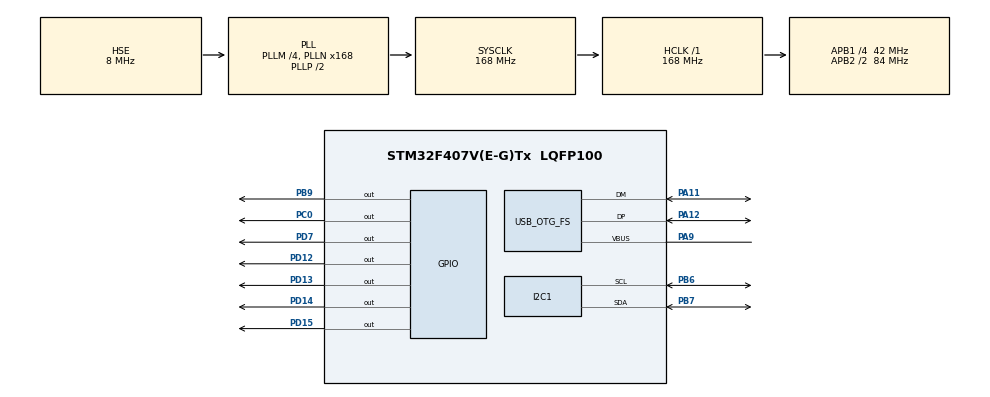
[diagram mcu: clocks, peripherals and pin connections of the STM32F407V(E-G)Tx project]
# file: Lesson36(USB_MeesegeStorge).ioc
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FATFS._MAX_SS=4096
Mcu.Family=STM32F4
Mcu.Name=STM32F407V(E-G)Tx
Mcu.Package=LQFP100
NVIC.OTG_FS_IRQn=true\:0\:0\:false\:false\:true
NVIC.PriorityGroup=NVIC_PRIORITYGROUP_4
PA11.Mode=Host_Only
PA11.Signal=USB_OTG_FS_DM
PA12.Mode=Host_Only
PA12.Signal=USB_OTG_FS_DP
PA9.Mode=Activate_VBUS
PA9.Signal=USB_OTG_FS_VBUS
PB6.Mode=I2C
PB6.Signal=I2C1_SCL
PB7.Mode=I2C
PB7.Signal=I2C1_SDA
PB9.Signal=GPIO_Output
PC0.Signal=GPIO_Output
PD12.Signal=GPIO_Output
PD13.Signal=GPIO_Output
PD14.Signal=GPIO_Output
PD15.Signal=GPIO_Output
PD7.Signal=GPIO_Output
PH0-OSC_IN.Mode=HSE-External-Oscillator
PH0-OSC_IN.Signal=RCC_OSC_IN
PH1-OSC_OUT.Mode=HSE-External-Oscillator
PH1-OSC_OUT.Signal=RCC_OSC_OUT
ProjectManager.HeapSize=0x200
ProjectManager.StackSize=0x400
ProjectManager.TargetToolchain=MDK-ARM V5
RCC.48MHZClocksFreq_Value=48000000
RCC.AHBFreq_Value=168000000
RCC.APB1CLKDivider=RCC_HCLK_DIV4
RCC.APB1Freq_Value=42000000
RCC.APB1TimFreq_Value=84000000
RCC.APB2CLKDivider=RCC_HCLK_DIV2
RCC.APB2Freq_Value=84000000
RCC.APB2TimFreq_Value=168000000
RCC.CortexFreq_Value=168000000
RCC.HCLKFreq_Value=168000000
RCC.HSE_VALUE=8000000
RCC.HSI_VALUE=16000000
RCC.LSE_VALUE=32768
RCC.PLLM=4
RCC.PLLN=168
RCC.PLLQ=7
RCC.SYSCLKFreq_VALUE=168000000
RCC.SYSCLKSource=RCC_SYSCLKSOURCE_PLLCLK
RCC.VCOOutputFreq_Value=336000000
USB_HOST.USBH_HandleTypeDef-MSC_FS=hUsbHostFS
USB_HOST.VirtualModeFS=Msc
USB_OTG_FS.phy_itface=HCD_PHY_EMBEDDED
VP_FATFS_VS_USB.Mode=USB
VP_USB_HOST_VS_USB_HOST_MSC_FS.Mode=MSC_FS
board=Lesson36(USB_MeesegeStorge)

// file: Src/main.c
/**
  ******************************************************************************
  * File Name          : main.c
  * Description        : Main program body
  ******************************************************************************
  *
  * Copyright (c) 2017 STMicroelectronics International N.V.
  * All rights reserved.
  *
  * Redistribution and use in source and binary forms, with or without
  * modification, are permitted, provided that the following conditions are met:
  *
  * 1. Redistribution of source code must retain the above copyright notice,
  *    this list of conditions and the following disclaimer.
  * 2. Redistributions in binary form must reproduce the above copyright notice,
  *    this list of conditions and the following disclaimer in the documentation
  *    and/or other materials provided with the distribution.
  * 3. Neither the name of STMicroelectronics nor the names of other
  *    contributors to this software may be used to endorse or promote products
  *    derived from this software without specific written permission.
  * 4. This software, including modifications and/or derivative works of this
  *    software, must execute solely and exclusively on microcontroller or
  *    microprocessor devices manufactured by or for STMicroelectronics.
  * 5. Redistribution and use of this software other than as permitted under
  *    this license is void and will automatically terminate your rights under
  *    this license.
  *
  * THIS SOFTWARE IS PROVIDED BY STMICROELECTRONICS AND CONTRIBUTORS "AS IS"
  * AND ANY EXPRESS, IMPLIED OR STATUTORY WARRANTIES, INCLUDING, BUT NOT
  * LIMITED TO, THE IMPLIED WARRANTIES OF MERCHANTABILITY, FITNESS FOR A
  * PARTICULAR PURPOSE AND NON-INFRINGEMENT OF THIRD PARTY INTELLECTUAL PROPERTY
  * RIGHTS ARE DISCLAIMED TO THE FULLEST EXTENT PERMITTED BY LAW. IN NO EVENT
  * SHALL STMICROELECTRONICS OR CONTRIBUTORS BE LIABLE FOR ANY DIRECT, INDIRECT,
  * INCIDENTAL, SPECIAL, EXEMPLARY, OR CONSEQUENTIAL DAMAGES (INCLUDING, BUT NOT
  * LIMITED TO, PROCUREMENT OF SUBSTITUTE GOODS OR SERVICES; LOSS OF USE, DATA,
  * OR PROFITS; OR BUSINESS INTERRUPTION) HOWEVER CAUSED AND ON ANY THEORY OF
  * LIABILITY, WHETHER IN CONTRACT, STRICT LIABILITY, OR TORT (INCLUDING
  * NEGLIGENCE OR OTHERWISE) ARISING IN ANY WAY OUT OF THE USE OF THIS SOFTWARE,
  * EVEN IF ADVISED OF THE POSSIBILITY OF SUCH DAMAGE.
  *
  ******************************************************************************
  */
#include "main.h"
#include "stm32f4xx_hal.h"
#include "fatfs.h"
#include "usb_host.h"

I2C_HandleTypeDef hi2c1;
extern ApplicationTypeDef Appli_state;
FATFS USBDISKFatFs;
FIL MyFile;
extern USBH_HandleTypeDef hUsbHostFS;

/* USER CODE BEGIN PV */
/* Private variables ---------------------------------------------------------*/

/* USER CODE END PV */

void SystemClock_Config(void);
void Error_Handler(void);
static void MX_GPIO_Init(void);
static void MX_I2C1_Init(void);
void MX_USB_HOST_Process(void);

/* USER CODE BEGIN PFP */
/* Private function prototypes -----------------------------------------------*/

/* USER CODE END PFP */

/* USER CODE BEGIN 0 */
void FileReadWrite(void)
{
	FRESULT res;
	uint32_t byteswritten, bytesread;
	uint8_t rtext[100];
	//uint8_t wtext[]="Hello from STM32!!!!!!";

	//+++++++++++++++++++++++++++++++++++++++++++++++++++++++++++++++++++++++
	//Read
	if(f_mount(&USBDISKFatFs,(TCHAR const*)USBH_Path,0)!=FR_OK)
	{
		HAL_GPIO_WritePin(GPIOD,GPIO_PIN_12,GPIO_PIN_SET);
		Error_Handler();
	}
	else
	{
		if(f_open(&MyFile,"123.txt",FA_READ)!=FR_OK)
		{
			HAL_GPIO_WritePin(GPIOD,GPIO_PIN_13,GPIO_PIN_SET);
			Error_Handler();
		}
		else
		{
			res = f_read(&MyFile,rtext,sizeof(rtext),(void*)&bytesread);
			if((bytesread==0)||(res!=FR_OK))
			{
				HAL_GPIO_WritePin(GPIOD,GPIO_PIN_14,GPIO_PIN_SET);
				Error_Handler();
			}
			else
			{
				HAL_GPIO_WritePin(GPIOD,GPIO_PIN_15,GPIO_PIN_SET);
				LCD_clear();
				LCD_GOTOXY(0,0);
				rtext[bytesread]=0;//������� ����, ��������� �� ���������
				LCD_printstring((char*)rtext);
				f_close(&MyFile);
			}
		}
	}

}

/* USER CODE END 0 */

int main(void)
{

  /* MCU Configuration----------------------------------------------------------*/

  /* Reset of all peripherals, Initializes the Flash interface and the Systick. */
  HAL_Init();

  /* Configure the system clock */
  SystemClock_Config();

  /* Initialize all configured peripherals */
  MX_GPIO_Init();
  MX_I2C1_Init();
  MX_FATFS_Init();
  MX_USB_HOST_Init();

  /* USER CODE BEGIN 2 */
LCD_ini();
  /* USER CODE END 2 */

  /* USER CODE END 2 */

  /* Infinite loop */
  while (1)
  {
    MX_USB_HOST_Process();

  /* USER CODE BEGIN 3 */
		if(Appli_state==APPLICATION_START)
		{

			FileReadWrite();
		}

		else if(Appli_state==APPLICATION_IDLE)
		{

		}

  }
  /* USER CODE END 3 */

}

/** System Clock Configuration
*/
void SystemClock_Config(void)
{

  RCC_OscInitTypeDef RCC_OscInitStruct;
  RCC_ClkInitTypeDef RCC_ClkInitStruct;

    /**Configure the main internal regulator output voltage
    */
  __HAL_RCC_PWR_CLK_ENABLE();

  __HAL_PWR_VOLTAGESCALING_CONFIG(PWR_REGULATOR_VOLTAGE_SCALE1);

    /**Initializes the CPU, AHB and APB busses clocks
    */
  RCC_OscInitStruct.OscillatorType = RCC_OSCILLATORTYPE_HSE;
  RCC_OscInitStruct.HSEState = RCC_HSE_ON;
  RCC_OscInitStruct.PLL.PLLState = RCC_PLL_ON;
  RCC_OscInitStruct.PLL.PLLSource = RCC_PLLSOURCE_HSE;
  RCC_OscInitStruct.PLL.PLLM = 4;
  RCC_OscInitStruct.PLL.PLLN = 168;
  RCC_OscInitStruct.PLL.PLLP = RCC_PLLP_DIV2;
  RCC_OscInitStruct.PLL.PLLQ = 7;
  if (HAL_RCC_OscConfig(&RCC_OscInitStruct) != HAL_OK)
  {
    Error_Handler();
  }

    /**Initializes the CPU, AHB and APB busses clocks
    */
  RCC_ClkInitStruct.ClockType = RCC_CLOCKTYPE_HCLK|RCC_CLOCKTYPE_SYSCLK
                              |RCC_CLOCKTYPE_PCLK1|RCC_CLOCKTYPE_PCLK2;
  RCC_ClkInitStruct.SYSCLKSource = RCC_SYSCLKSOURCE_PLLCLK;
  RCC_ClkInitStruct.AHBCLKDivider = RCC_SYSCLK_DIV1;
  RCC_ClkInitStruct.APB1CLKDivider = RCC_HCLK_DIV4;
  RCC_ClkInitStruct.APB2CLKDivider = RCC_HCLK_DIV2;

  if (HAL_RCC_ClockConfig(&RCC_ClkInitStruct, FLASH_LATENCY_5) != HAL_OK)
  {
    Error_Handler();
  }

    /**Configure the Systick interrupt time
    */
  HAL_SYSTICK_Config(HAL_RCC_GetHCLKFreq()/1000);

    /**Configure the Systick
    */
  HAL_SYSTICK_CLKSourceConfig(SYSTICK_CLKSOURCE_HCLK);

  /* SysTick_IRQn interrupt configuration */
  HAL_NVIC_SetPriority(SysTick_IRQn, 0, 0);
}

/* I2C1 init function */
static void MX_I2C1_Init(void)
{

  hi2c1.Instance = I2C1;
  hi2c1.Init.ClockSpeed = 100000;
  hi2c1.Init.DutyCycle = I2C_DUTYCYCLE_2;
  hi2c1.Init.OwnAddress1 = 0;
  hi2c1.Init.AddressingMode = I2C_ADDRESSINGMODE_7BIT;
  hi2c1.Init.DualAddressMode = I2C_DUALADDRESS_DISABLE;
  hi2c1.Init.OwnAddress2 = 0;
  hi2c1.Init.GeneralCallMode = I2C_GENERALCALL_DISABLE;
  hi2c1.Init.NoStretchMode = I2C_NOSTRETCH_DISABLE;
  if (HAL_I2C_Init(&hi2c1) != HAL_OK)
  {
    Error_Handler();
  }

}

/** Configure pins as
        * Analog
        * Input
        * Output
        * EVENT_OUT
        * EXTI
*/
static void MX_GPIO_Init(void)
{

  GPIO_InitTypeDef GPIO_InitStruct;

  /* GPIO Ports Clock Enable */
  __HAL_RCC_GPIOH_CLK_ENABLE();
  __HAL_RCC_GPIOC_CLK_ENABLE();
  __HAL_RCC_GPIOD_CLK_ENABLE();
  __HAL_RCC_GPIOA_CLK_ENABLE();
  __HAL_RCC_GPIOB_CLK_ENABLE();

  /*Configure GPIO pin Output Level */
  HAL_GPIO_WritePin(GPIOC, GPIO_PIN_0, GPIO_PIN_RESET);

  /*Configure GPIO pin Output Level */
  HAL_GPIO_WritePin(GPIOD, GPIO_PIN_12|GPIO_PIN_13|GPIO_PIN_14|GPIO_PIN_15
                          |GPIO_PIN_7, GPIO_PIN_RESET);

  /*Configure GPIO pin Output Level */
  HAL_GPIO_WritePin(GPIOB, GPIO_PIN_9, GPIO_PIN_RESET);

  /*Configure GPIO pin : PC0 */
  GPIO_InitStruct.Pin = GPIO_PIN_0;
  GPIO_InitStruct.Mode = GPIO_MODE_OUTPUT_PP;
  GPIO_InitStruct.Pull = GPIO_NOPULL;
  GPIO_InitStruct.Speed = GPIO_SPEED_FREQ_LOW;
  HAL_GPIO_Init(GPIOC, &GPIO_InitStruct);

  /*Configure GPIO pins : PD12 PD13 PD14 PD15
                           PD7 */
  GPIO_InitStruct.Pin = GPIO_PIN_12|GPIO_PIN_13|GPIO_PIN_14|GPIO_PIN_15
                          |GPIO_PIN_7;
  GPIO_InitStruct.Mode = GPIO_MODE_OUTPUT_PP;
  GPIO_InitStruct.Pull = GPIO_NOPULL;
  GPIO_InitStruct.Speed = GPIO_SPEED_FREQ_LOW;
  HAL_GPIO_Init(GPIOD, &GPIO_InitStruct);

  /*Configure GPIO pin : PB9 */
  GPIO_InitStruct.Pin = GPIO_PIN_9;
  GPIO_InitStruct.Mode = GPIO_MODE_OUTPUT_PP;
  GPIO_InitStruct.Pull = GPIO_NOPULL;
  GPIO_InitStruct.Speed = GPIO_SPEED_FREQ_LOW;
  HAL_GPIO_Init(GPIOB, &GPIO_InitStruct);

}

void Error_Handler(void)
{
  while(1)
  {
  }
}

/************************ (C) COPYRIGHT STMicroelectronics *****END OF FILE****/
